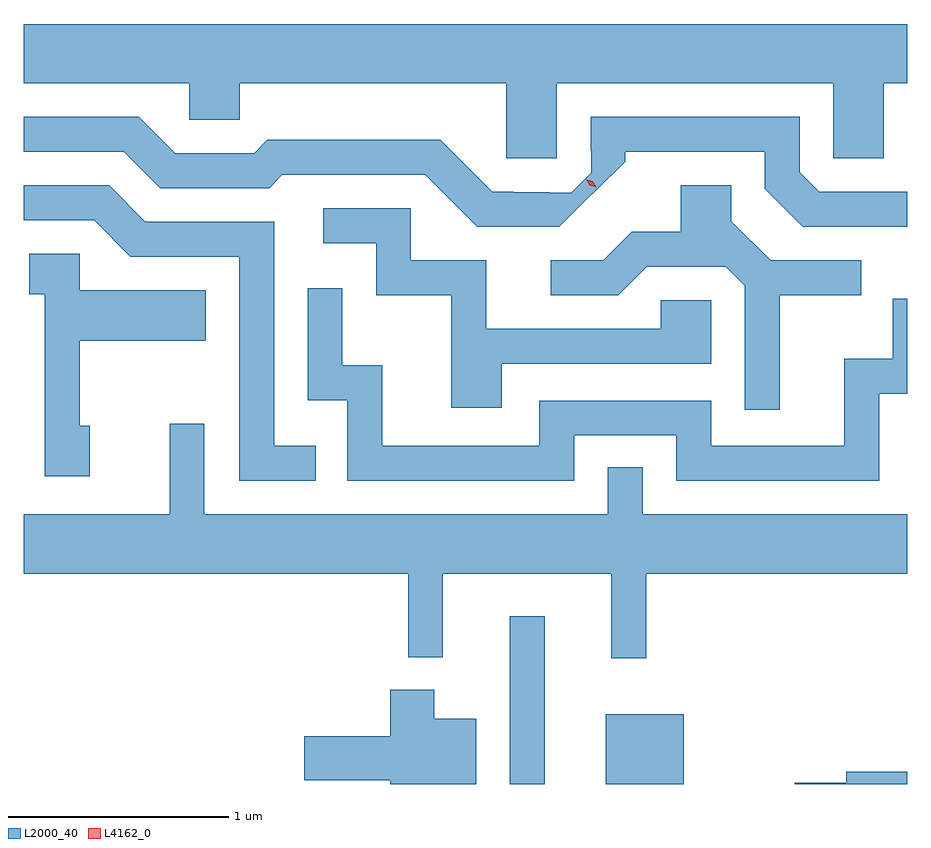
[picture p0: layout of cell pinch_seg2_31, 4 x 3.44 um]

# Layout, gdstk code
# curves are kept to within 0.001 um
import gdstk
lib = gdstk.Library(unit=1e-6, precision=1e-09)
def R(c, l, rs):  # rectangles x0, y0, x1, y1
    for r in rs: c.add(gdstk.rectangle(r[:2], r[2:], *l))
def P(c, l, *ps):  # polygons
    for p in ps: c.add(gdstk.Polygon(p, *l))
L2000_40 = (2000, 40)
L4162_0 = (4162, 0)

pinch_seg2_31 = lib.new_cell('pinch_seg2_31')
R(pinch_seg2_31, L2000_40, [(1669.556,1031.823,1669.714,1032.583), (1669.991,1031.823,1670.344,1032.139)])
P(pinch_seg2_31, L2000_40, [(1669.769,1034.996),(1671.021,1034.996),(1671.021,1034.656),(1671.249,1034.656),(1671.249,1034.996),(1671.356,1034.996),(1671.356,1035.264),(1667.356,1035.264),(1667.356,1034.996),(1668.106,1034.996),(1668.106,1034.831),(1668.334,1034.831),(1668.334,1034.996),(1669.541,1034.996),(1669.541,1034.656),(1669.769,1034.656)],
  [(1669.847,1034.412),(1670.014,1034.578),(1670.016,1034.576),(1670.079,1034.64),(1670.079,1034.686),(1670.711,1034.686),(1670.711,1034.519),(1670.884,1034.346),(1671.356,1034.346),(1671.356,1034.504),(1670.957,1034.504),(1670.869,1034.592),(1670.869,1034.844),(1669.922,1034.844),(1669.922,1034.69),(1669.925,1034.69),(1669.925,1034.59),(1669.835,1034.5),(1669.735,1034.5),(1669.735,1034.503),(1669.477,1034.504),(1669.242,1034.739),(1668.459,1034.739),(1668.399,1034.679),(1668.042,1034.679),(1667.877,1034.844),(1667.356,1034.844),(1667.356,1034.686),(1667.809,1034.686),(1667.974,1034.521),(1668.467,1034.521),(1668.527,1034.581),(1669.174,1034.581),(1669.409,1034.346),(1669.781,1034.346)],
  [(1668.678,1033.354),(1668.489,1033.354),(1668.489,1034.369),(1667.907,1034.369),(1667.742,1034.534),(1667.356,1034.534),(1667.356,1034.376),(1667.674,1034.376),(1667.839,1034.211),(1668.331,1034.211),(1668.331,1033.196),(1668.678,1033.196)],
  [(1670.779,1034.036),(1671.148,1034.036),(1671.148,1034.194),(1670.737,1034.194),(1670.559,1034.372),(1670.559,1034.534),(1670.331,1034.534),(1670.331,1034.324),(1670.109,1034.324),(1669.979,1034.194),(1669.743,1034.194),(1669.743,1034.036),(1670.047,1034.036),(1670.177,1034.166),(1670.534,1034.166),(1670.621,1034.079),(1670.621,1033.517),(1670.779,1033.517)],
  [(1669.519,1033.726),(1670.469,1033.726),(1670.469,1034.014),(1670.241,1034.014),(1670.241,1033.884),(1669.449,1033.884),(1669.449,1034.194),(1669.109,1034.194),(1669.109,1034.429),(1668.713,1034.429),(1668.713,1034.271),(1668.951,1034.271),(1668.951,1034.036),(1669.291,1034.036),(1669.291,1033.526),(1669.519,1033.526)],
  [(1667.654,1033.444),(1667.609,1033.444),(1667.609,1033.831),(1668.179,1033.831),(1668.179,1034.059),(1667.609,1034.059),(1667.609,1034.224),(1667.381,1034.224),(1667.381,1034.041),(1667.451,1034.041),(1667.451,1033.216),(1667.654,1033.216)],
  [(1669.849,1033.401),(1670.311,1033.401),(1670.311,1033.196),(1671.229,1033.196),(1671.229,1033.591),(1671.356,1033.591),(1671.356,1034.019),(1671.291,1034.019),(1671.291,1033.749),(1671.071,1033.749),(1671.071,1033.354),(1670.469,1033.354),(1670.469,1033.559),(1669.691,1033.559),(1669.691,1033.354),(1668.979,1033.354),(1668.979,1033.719),(1668.799,1033.719),(1668.799,1034.068),(1668.641,1034.068),(1668.641,1033.561),(1668.821,1033.561),(1668.821,1033.196),(1669.849,1033.196)],
  [(1670.174,1032.776),(1671.356,1032.776),(1671.356,1033.044),(1670.159,1033.044),(1670.159,1033.257),(1670.001,1033.257),(1670.001,1033.044),(1668.174,1033.044),(1668.174,1033.453),(1668.016,1033.453),(1668.016,1033.044),(1667.356,1033.044),(1667.356,1032.776),(1669.096,1032.776),(1669.096,1032.398),(1669.254,1032.398),(1669.254,1032.776),(1670.016,1032.776),(1670.016,1032.392),(1670.174,1032.392)],
  [(1669.404,1032.119),(1669.214,1032.119),(1669.214,1032.249),(1669.016,1032.249),(1669.016,1032.039),(1668.626,1032.039),(1668.626,1031.841),(1669.016,1031.841),(1669.016,1031.823),(1669.404,1031.823)],
  [(1671.356,1031.879),(1671.081,1031.879),(1671.081,1031.829),(1670.846,1031.829),(1670.846,1031.823),(1671.356,1031.823)])
P(pinch_seg2_31, L4162_0, [(1669.939,1034.532),(1669.919,1034.537),(1669.912,1034.555),(1669.912,1034.556),(1669.912,1034.556),(1669.932,1034.552),(1669.939,1034.533),(1669.939,1034.532)],
  [(1669.947,1034.525),(1669.919,1034.535),(1669.902,1034.56),(1669.902,1034.561),(1669.903,1034.561),(1669.931,1034.551),(1669.948,1034.526),(1669.948,1034.525)])

lib.write_gds('pinch_seg2_31.gds')
